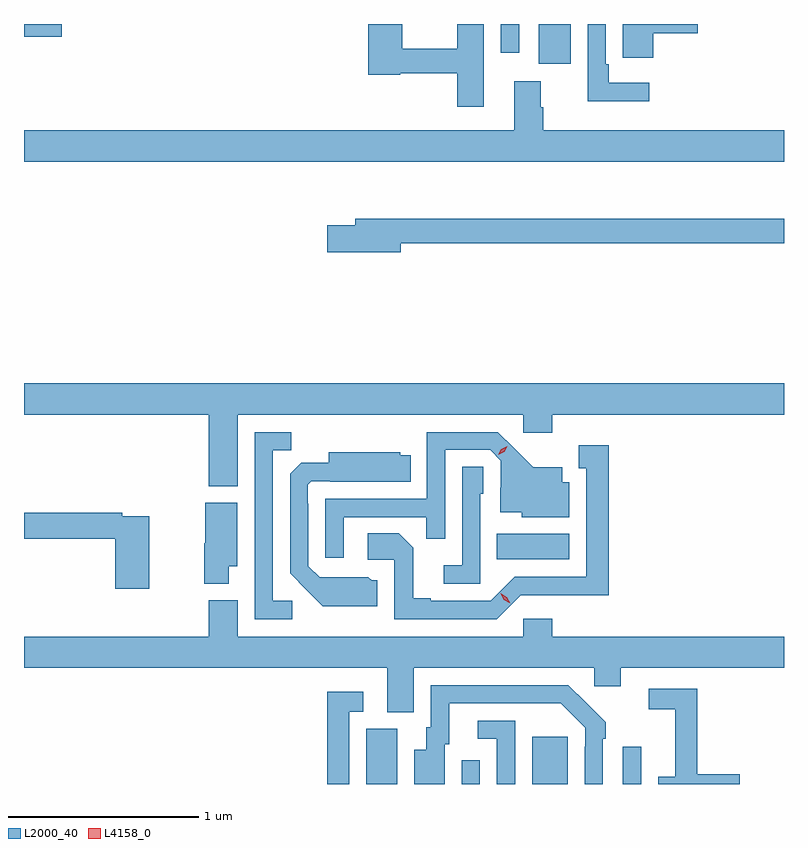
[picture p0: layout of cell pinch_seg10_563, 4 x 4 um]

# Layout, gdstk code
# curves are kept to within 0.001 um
import gdstk
lib = gdstk.Library(unit=1e-6, precision=1e-09)
def R(c, l, rs):  # rectangles x0, y0, x1, y1
    for r in rs: c.add(gdstk.rectangle(r[:2], r[2:], *l))
def P(c, l, *ps):  # polygons
    for p in ps: c.add(gdstk.Polygon(p, *l))
L2000_40 = (2000, 40)
L4158_0 = (4158, 0)

pinch_seg10_563 = lib.new_cell('pinch_seg10_563')
R(pinch_seg10_563, L2000_40, [(353.354,1285.052,353.518,1285.344), (353.856,1285.052,353.952,1285.177), (354.227,1285.052,354.415,1285.3), (354.705,1285.052,354.801,1285.249), (354.04,1286.234,354.424,1286.368), (354.263,1288.842,354.43,1289.052), (354.063,1288.902,354.159,1289.052), (351.553,1288.985,351.751,1289.052)])
P(pinch_seg10_563, L2000_40, [(353.974,1289.052),(353.833,1289.052),(353.833,1288.922),(353.544,1288.922),(353.544,1289.052),(353.366,1289.052),(353.366,1288.786),(353.532,1288.786),(353.532,1288.794),(353.833,1288.794),(353.833,1288.617),(353.974,1288.617)],
  [(354.866,1289.003),(355.099,1289.003),(355.099,1289.052),(354.704,1289.052),(354.704,1288.987),(354.705,1288.987),(354.705,1288.875),(354.866,1288.875)],
  [(354.844,1288.744),(354.631,1288.744),(354.631,1288.84),(354.615,1288.84),(354.615,1289.052),(354.519,1289.052),(354.519,1288.646),(354.844,1288.646)],
  [(354.274,1288.613),(354.274,1288.75),(354.134,1288.75),(354.134,1288.492),(351.553,1288.492),(351.553,1288.328),(355.553,1288.328),(355.553,1288.492),(354.287,1288.492),(354.287,1288.613)],
  [(353.536,1287.898),(355.553,1287.898),(355.553,1288.027),(353.297,1288.027),(353.297,1287.993),(353.148,1287.993),(353.148,1287.851),(353.536,1287.851)],
  [(352.678,1286.996),(354.18,1286.996),(354.18,1286.901),(354.332,1286.901),(354.332,1286.996),(355.553,1286.996),(355.553,1287.16),(351.553,1287.16),(351.553,1286.996),(352.526,1286.996),(352.526,1286.618),(352.678,1286.618)],
  [(353.235,1286.457),(353.671,1286.457),(353.671,1286.344),(353.769,1286.344),(353.769,1286.811),(354.006,1286.811),(354.063,1286.754),(354.063,1286.612),(354.059,1286.612),(354.059,1286.483),(354.174,1286.483),(354.174,1286.456),(354.424,1286.456),(354.424,1286.641),(354.385,1286.641),(354.385,1286.719),(354.233,1286.719),(354.046,1286.904),(353.673,1286.904),(353.673,1286.553),(353.139,1286.553),(353.139,1286.244),(353.235,1286.244)],
  [(352.966,1286.016),(352.863,1286.016),(352.863,1286.809),(352.959,1286.809),(352.959,1286.904),(352.767,1286.904),(352.767,1285.92),(352.966,1285.92)],
  [(354.168,1286.046),(354.631,1286.045),(354.631,1286.836),(354.473,1286.836),(354.473,1286.715),(354.512,1286.715),(354.512,1286.142),(354.135,1286.142),(354.009,1286.016),(353.695,1286.016),(353.695,1286.029),(353.601,1286.029),(353.601,1286.296),(353.525,1286.372),(353.361,1286.372),(353.361,1286.232),(353.502,1286.232),(353.502,1285.92),(354.042,1285.92)],
  [(353.413,1286.124),(353.382,1286.124),(353.366,1286.14),(353.109,1286.139),(353.049,1286.199),(353.049,1286.528),(353.046,1286.528),(353.046,1286.628),(353.064,1286.646),(353.164,1286.646),(353.164,1286.642),(353.588,1286.642),(353.588,1286.782),(353.532,1286.782),(353.532,1286.797),(353.156,1286.797),(353.156,1286.743),(353.012,1286.743),(352.953,1286.684),(352.953,1286.162),(353.125,1285.988),(353.413,1285.988)],
  [(353.955,1286.58),(353.97,1286.58),(353.97,1286.723),(353.859,1286.723),(353.859,1286.203),(353.763,1286.203),(353.763,1286.106),(353.955,1286.106)],
  [(352.63,1286.198),(352.675,1286.198),(352.675,1286.533),(352.508,1286.533),(352.508,1286.319),(352.501,1286.319),(352.501,1286.105),(352.63,1286.105)],
  [(352.212,1286.46),(352.07,1286.46),(352.07,1286.48),(351.553,1286.48),(351.553,1286.344),(352.034,1286.344),(352.034,1286.079),(352.212,1286.079)],
  [(353.605,1285.664),(354.555,1285.664),(354.555,1285.566),(354.694,1285.566),(354.694,1285.664),(355.553,1285.664),(355.553,1285.828),(354.332,1285.828),(354.332,1285.921),(354.18,1285.921),(354.18,1285.828),(352.678,1285.828),(352.678,1286.02),(352.526,1286.02),(352.526,1285.828),(351.553,1285.828),(351.553,1285.664),(353.465,1285.664),(353.465,1285.429),(353.605,1285.429)],
  [(353.767,1285.26),(353.791,1285.26),(353.791,1285.476),(354.379,1285.476),(354.507,1285.347),(354.507,1285.247),(354.504,1285.247),(354.504,1285.052),(354.6,1285.052),(354.6,1285.289),(354.615,1285.289),(354.615,1285.377),(354.418,1285.572),(353.694,1285.572),(353.694,1285.35),(353.669,1285.35),(353.669,1285.231),(353.606,1285.231),(353.606,1285.052),(353.767,1285.052)],
  [(355.321,1285.103),(355.097,1285.103),(355.097,1285.554),(354.84,1285.554),(354.84,1285.446),(354.98,1285.446),(354.98,1285.09),(354.89,1285.09),(354.89,1285.052),(355.321,1285.052)],
  [(353.265,1285.431),(353.338,1285.431),(353.338,1285.537),(353.149,1285.537),(353.149,1285.052),(353.265,1285.052)],
  [(354.138,1285.386),(353.94,1285.386),(353.94,1285.29),(354.042,1285.29),(354.042,1285.052),(354.138,1285.052)])
P(pinch_seg10_563, L4158_0, [(354.111,1286.003),(354.079,1286.023),(354.062,1286.055),(354.062,1286.056),(354.062,1286.056),(354.094,1286.036),(354.111,1286.004),(354.111,1286.003)],
  [(354.049,1286.784),(354.049,1286.785),(354.066,1286.814),(354.097,1286.83),(354.097,1286.83),(354.097,1286.829),(354.08,1286.8),(354.049,1286.784)])

lib.write_gds('pinch_seg10_563.gds')
